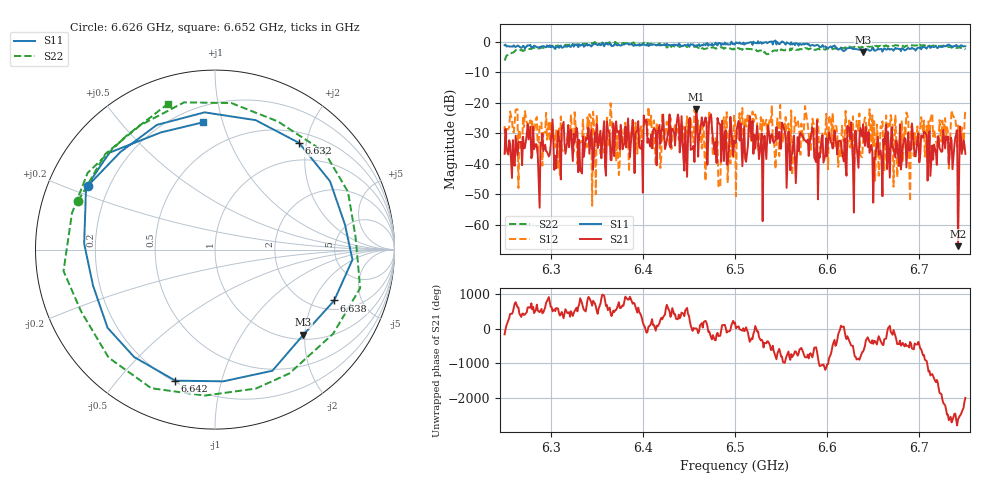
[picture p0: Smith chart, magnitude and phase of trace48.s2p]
# Hz S RI R 50
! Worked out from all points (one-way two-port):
!   401 points, 6.25 GHz to 6.75 GHz, reference 50 ohm
!   highest |S21| = -21.97 dB at 6.458 GHz (marker M1); lowest = -66.9 dB at 6.742 GHz (marker M2)
!   lowest |S11| = -3.3 dB at 6.639 GHz (marker M3), VSWR 5.32, Z = 55.3 - j98.4 ohm
!   |S11| at or under -10 dB: nowhere
!   |S22| runs from -6.2 to 0.0 dB; largest |S21 - S12| = 0.13
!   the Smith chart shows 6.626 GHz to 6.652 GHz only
!   S11 on the Smith chart (normalised r, x): 6.626 GHz: 0.12, +0.23; 6.632 GHz: 0.67, +1.87; 6.638 GHz: 2.48, -2.94; 6.642 GHz: 0.21, -0.72; 6.652 GHz: 0.30, +0.86
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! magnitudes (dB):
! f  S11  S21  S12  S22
! 6.25 GHz  -1.1  -36.7  -27.6  -6.2
! 6.334 GHz  -1.0  -43.2  -32.7  -1.0
! 6.418 GHz  -1.1  -27.2  -30.7  -0.6
! 6.458 GHz  -1.2  -22.0  -25.3  -1.6
! 6.482 GHz  -0.4  -26.5  -47.2  -2.1
! 6.489 GHz  -0.3  -29.7  -29.6  -2.0
! 6.5 GHz  -0.9  -33.2  -24.8  -2.7
! 6.521 GHz  -0.3  -30.5  -25.6  -2.3
! 6.529 GHz  -0.7  -30.1  -29.9  -3.0
! 6.538 GHz  0.0  -33.1  -25.2  -3.8
! 6.584 GHz  -1.0  -28.1  -25.2  -2.5
! 6.626 GHz  -2.0  -26.4  -32.5  -1.8
! 6.632 GHz  -2.4  -34.3  -25.9  -2.0
! 6.638 GHz  -2.8  -31.1  -37.8  -1.5
! 6.639 GHz  -3.3  -27.0  -32.2  -1.8
! 6.642 GHz  -2.4  -27.9  -26.5  -1.8
! 6.652 GHz  -2.9  -38.3  -45.6  -1.4
! 6.668 GHz  -2.6  -44.5  -28.3  -1.3
! 6.675 GHz  -2.3  -32.3  -32.6  -1.1
! 6.736 GHz  -1.7  -41.8  -23.9  -1.6
! 6.742 GHz  -1.6  -66.9  -27.4  -2.0
! 6.75 GHz  -1.5  -36.7  -22.0  -2.5
